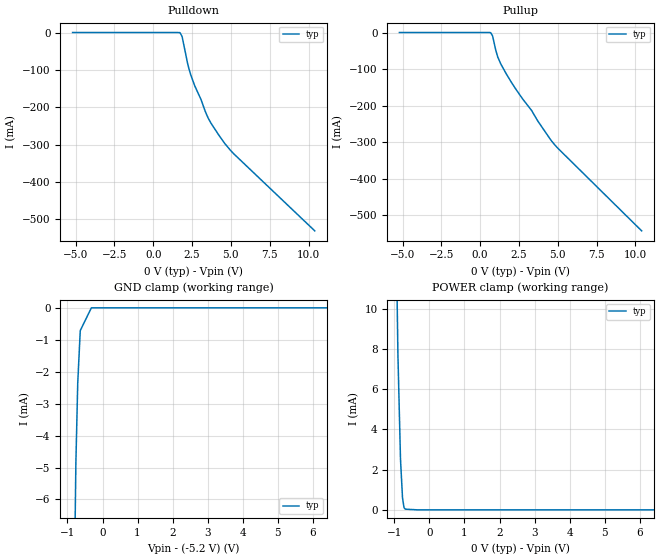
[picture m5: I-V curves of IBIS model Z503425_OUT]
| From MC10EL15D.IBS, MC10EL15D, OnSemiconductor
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| (C) COPYRIGHT 1993-2000
| MENTOR GRAPHICS CORPORATION
| ICX STANDARD LIBRARY, ICX PROJECT MODELING,
| ICX CUSTOM MODELING, ICX VENDOR MODEL
| ALL RIGHTS RESERVED.
| THE FOLLOWING ARE TRADEMARKS OR SERVICE MARKS OF
| MENTOR GRAPHICS CORPORATION:ICX (R), ICX STANDARD
| LIBRARY(R), ICX PROJECT MODELING(R), ICX CUSTOM
| MODELING(R), qualityIBIS(TM), MODELVIEWER(TM),
| AND MODELEDITOR(TM)
| ALL COPIES OF SOFTWARE, INCLUDING BUT NOT LIMITED TO
| ANY MODIFICATIONS, ENHANCEMENTS OR DERIVATIVE WORKS,
| MUST CONTAIN ALL MENTOR GRAPHICS CORPORATION'S
| NOTICES AND LEGENDS, INCLUDING THOSE EMBEDDED IN
| SOFTWARE AND THOSE AFFIXED TO SOFTWARE MEDIUM
| AND CONTAINER, AS RECEIVED FROM MENTOR GRAPHICS
| CORPORATION.
| Model Application Version 1.89 2/18/99.
[Model] Z503425_OUT
Model_type Output_ECL
Vref=-2.000V
Rref=50.00ohms
Cref=0.000F
Vmeas=-1.305V
C_comp 8.000pF NA NA
| variable typ   min   max
[Voltage Range] -5.200V NA NA
[POWER Clamp Reference] 0.000V NA NA
[Pullup Reference] 0.000V NA NA
[Pulldown Reference] 0.000V NA NA
[GND Clamp Reference] -5.200V NA NA
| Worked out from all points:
|   GND clamp passes 1 mA (typ) near -0.65 V on its own axis
|   POWER clamp passes 1 mA (typ) near -0.78 V on its own axis
[GND Clamp]
-5.2V     -394.6mA   NA         NA
-760mV    -4.865mA   NA         NA
-707mV    -2.363mA   NA         NA
-635mV    -712.5uA   NA         NA
-317.5mV  0A         NA         NA
10.4V     0A         NA         NA
[Pulldown]
-5.2V     244.9uA    NA         NA
1.724V    -368.1uA   NA         NA
1.855V    -10.45mA   NA         NA
2.197V    -80.24mA   NA         NA
2.295V    -96.89mA   NA         NA
2.666V    -142.4mA   NA         NA
3.071V    -179.2mA   NA         NA
3.531V    -228.8mA   NA         NA
4.199V    -273.5mA   NA         NA
4.594V    -296.8mA   NA         NA
5.181V    -324.9mA   NA         NA
10.4V     -531.5mA   NA         NA
[Pullup]
-5.2V     173.8uA    NA         NA
687.2mV   -631.2uA   NA         NA
800.1mV   -9.396mA   NA         NA
996.2mV   -46.91mA   NA         NA
1.134V    -67.18mA   NA         NA
1.685V    -113.2mA   NA         NA
2.334V    -157.1mA   NA         NA
3.311V    -213mA     NA         NA
3.716V    -242.2mA   NA         NA
4.557V    -294.3mA   NA         NA
4.991V    -315.9mA   NA         NA
10.4V     -542.4mA   NA         NA
[POWER Clamp]
-5.2V     1.722A     NA         NA
-1.337V   119.3mA    NA         NA
-1.152V   52.33mA    NA         NA
-1.04V    25.16mA    NA         NA
-898mV    7.721mA    NA         NA
-824.5mV  2.53mA     NA         NA
-767mV    598.8uA    NA         NA
-723.3mV  104.4uA    NA         NA
-685.3mV  33.8uA     NA         NA
-342.6mV  0A         NA         NA
10.4V     0A         NA         NA
[Ramp]
| variable typ min max
dV/dt_r 544.8m/1.282n NA NA
dV/dt_f 544.8m/1.524n NA NA
R_load = 50.00Ohms
